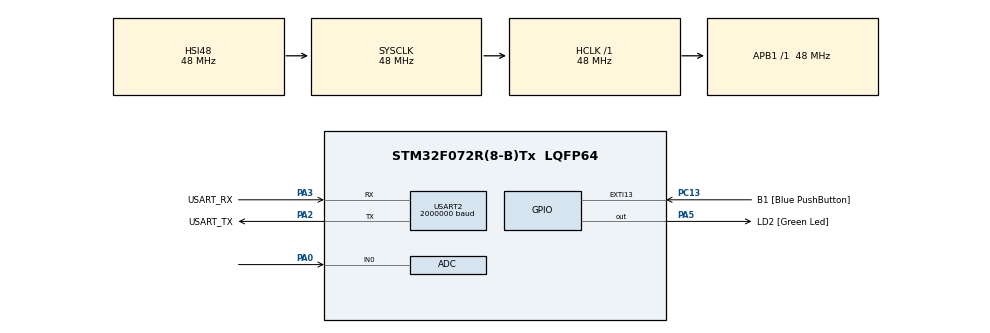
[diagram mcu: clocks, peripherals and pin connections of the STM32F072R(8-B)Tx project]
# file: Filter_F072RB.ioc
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Mcu.Family=STM32F0
Mcu.Name=STM32F072R(8-B)Tx
Mcu.Package=LQFP64
NVIC.ADC1_COMP_IRQn=true\:0\:0\:false\:false\:true\:true\:true\:true
NVIC.TIM1_BRK_UP_TRG_COM_IRQn=true\:0\:0\:false\:false\:true\:true\:true\:true
NVIC.TIM2_IRQn=true\:0\:0\:false\:false\:true\:true\:true\:true
PA0.Mode=IN0
PA0.Signal=ADC_IN0
PA13.GPIO_Label=TMS
PA13.Mode=Serial_Wire
PA13.Signal=SYS_SWDIO
PA14.GPIO_Label=TCK
PA14.Mode=Serial_Wire
PA14.Signal=SYS_SWCLK
PA2.GPIO_Label=USART_TX
PA2.GPIO_Mode=GPIO_MODE_AF_PP
PA2.GPIO_PuPd=GPIO_NOPULL
PA2.GPIO_Speed=GPIO_SPEED_FREQ_LOW
PA2.Mode=Asynchronous
PA2.Signal=USART2_TX
PA3.GPIO_Label=USART_RX
PA3.GPIO_Mode=GPIO_MODE_AF_PP
PA3.GPIO_PuPd=GPIO_NOPULL
PA3.GPIO_Speed=GPIO_SPEED_FREQ_LOW
PA3.Mode=Asynchronous
PA3.Signal=USART2_RX
PA5.GPIO_Label=LD2 [Green Led]
PA5.GPIO_Mode=GPIO_MODE_OUTPUT_PP
PA5.GPIO_PuPd=GPIO_NOPULL
PA5.GPIO_Speed=GPIO_SPEED_FREQ_LOW
PA5.Signal=GPIO_Output
PC13.GPIO_Label=B1 [Blue PushButton]
PC13.GPIO_ModeDefaultEXTI=GPIO_MODE_IT_FALLING
PC13.Signal=GPXTI13
PC14-OSC32_IN.Mode=LSE-External-Oscillator
PC14-OSC32_IN.Signal=RCC_OSC32_IN
PC15-OSC32_OUT.Mode=LSE-External-Oscillator
PC15-OSC32_OUT.Signal=RCC_OSC32_OUT
PF0-OSC_IN.Mode=HSE-External-Clock-Source
PF0-OSC_IN.Signal=RCC_OSC_IN
PF1-OSC_OUT.Signal=RCC_OSC_OUT
ProjectManager.HeapSize=0x200
ProjectManager.StackSize=0x400
ProjectManager.TargetToolchain=STM32CubeIDE
RCC.AHBFreq_Value=48000000
RCC.APB1Freq_Value=48000000
RCC.APB1TimFreq_Value=48000000
RCC.FLatency-AdvancedSettings=FLASH_LATENCY_1
RCC.HCLKFreq_Value=48000000
RCC.PLLDivider=RCC_PREDIV_DIV2
RCC.PLLMUL=RCC_PLL_MUL12
RCC.PREFETCH_ENABLE-AdvancedSettings=1
RCC.SYSCLKFreq_VALUE=48000000
RCC.SYSCLKSource=RCC_SYSCLKSOURCE_HSI48
TIM1.Period=100-1
TIM1.Prescaler=10-1
TIM2.Period=100000-1
TIM2.Prescaler=48-1
USART2.BaudRate=2000000
USART2.VirtualMode=VM_ASYNC
USART2.VirtualMode-Asynchronous=VM_ASYNC
VP_TIM1_VS_ClockSourceINT.Mode=Internal
VP_TIM2_VS_ClockSourceINT.Mode=Internal
board=NUCLEO-F072RB

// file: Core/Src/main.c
/* USER CODE BEGIN Header */
/**
  ******************************************************************************
  * @file           : main.c
  * @brief          : Main program body
  ******************************************************************************
  * @attention
  *
  * Copyright (c) 2022 STMicroelectronics.
  * All rights reserved.
  *
  * This software is licensed under terms that can be found in the LICENSE file
  * in the root directory of this software component.
  * If no LICENSE file comes with this software, it is provided AS-IS.
  *
  ******************************************************************************
  */
/* USER CODE END Header */
#include "main.h"

/* USER CODE BEGIN Includes */
#include <stdio.h>
#include <string.h>
/* USER CODE END Includes */

ADC_HandleTypeDef hadc;

TIM_HandleTypeDef htim1;
TIM_HandleTypeDef htim2;

UART_HandleTypeDef huart2;

/* USER CODE BEGIN PV */
uint32_t adcValue=0;
uint8_t flagTim1=0;
uint8_t flagTim2=0;
/* USER CODE END PV */

void SystemClock_Config(void);
static void MX_GPIO_Init(void);
static void MX_USART2_UART_Init(void);
static void MX_ADC_Init(void);
static void MX_TIM1_Init(void);
static void MX_TIM2_Init(void);
/* USER CODE BEGIN PFP */
void HAL_ADC_ConvCpltCallback(ADC_HandleTypeDef* hadc){
	adcValue=HAL_ADC_GetValue(hadc);
}
/* USER CODE END PFP */

int main(void)
{

  /* MCU Configuration--------------------------------------------------------*/

  /* Reset of all peripherals, Initializes the Flash interface and the Systick. */
  HAL_Init();

  /* Configure the system clock */
  SystemClock_Config();

  /* Initialize all configured peripherals */
  MX_GPIO_Init();
  MX_USART2_UART_Init();
  MX_ADC_Init();
  MX_TIM1_Init();
  MX_TIM2_Init();
  /* USER CODE BEGIN 2 */
  HAL_TIM_Base_Start_IT(&htim1);
  HAL_TIM_Base_Start_IT(&htim2);
  char msg[10];
  double reConjug = 0.1225;    //0.003914 freq coupure norm->187,872Hz freq coupure denorm
  double imgConjug = -0.87740689;
  double coef=reConjug+imgConjug;
  double z=0;
  double z1=0;
  double out=0;
  /* USER CODE END 2 */

  /* Infinite loop */
  /* USER CODE BEGIN WHILE */
  while (1)
  {
	if(flagTim1==1){
		z1=z;
		z=(double)adcValue;
		out=z+z1*coef;
		flagTim1=0;
	}
	if(flagTim2==1){
			uint8_t size=snprintf(msg,10,"%.3f\r\n",out);
			HAL_UART_Transmit(&huart2,(uint8_t*)msg, size, HAL_MAX_DELAY);
			flagTim2=0;
		}
    /* USER CODE END WHILE */

  }
}

void SystemClock_Config(void)
{
  RCC_OscInitTypeDef RCC_OscInitStruct = {0};
  RCC_ClkInitTypeDef RCC_ClkInitStruct = {0};
  RCC_PeriphCLKInitTypeDef PeriphClkInit = {0};

  /** Initializes the RCC Oscillators according to the specified parameters
  * in the RCC_OscInitTypeDef structure.
  */
  RCC_OscInitStruct.OscillatorType = RCC_OSCILLATORTYPE_HSI14|RCC_OSCILLATORTYPE_HSI48;
  RCC_OscInitStruct.HSI48State = RCC_HSI48_ON;
  RCC_OscInitStruct.HSI14State = RCC_HSI14_ON;
  RCC_OscInitStruct.HSI14CalibrationValue = 16;
  RCC_OscInitStruct.PLL.PLLState = RCC_PLL_NONE;
  if (HAL_RCC_OscConfig(&RCC_OscInitStruct) != HAL_OK)
  {
    Error_Handler();
  }

  /** Initializes the CPU, AHB and APB buses clocks
  */
  RCC_ClkInitStruct.ClockType = RCC_CLOCKTYPE_HCLK|RCC_CLOCKTYPE_SYSCLK
                              |RCC_CLOCKTYPE_PCLK1;
  RCC_ClkInitStruct.SYSCLKSource = RCC_SYSCLKSOURCE_HSI48;
  RCC_ClkInitStruct.AHBCLKDivider = RCC_SYSCLK_DIV1;
  RCC_ClkInitStruct.APB1CLKDivider = RCC_HCLK_DIV1;

  if (HAL_RCC_ClockConfig(&RCC_ClkInitStruct, FLASH_LATENCY_1) != HAL_OK)
  {
    Error_Handler();
  }
  PeriphClkInit.PeriphClockSelection = RCC_PERIPHCLK_USART2;
  PeriphClkInit.Usart2ClockSelection = RCC_USART2CLKSOURCE_PCLK1;
  if (HAL_RCCEx_PeriphCLKConfig(&PeriphClkInit) != HAL_OK)
  {
    Error_Handler();
  }
}

static void MX_ADC_Init(void)
{

  ADC_ChannelConfTypeDef sConfig = {0};

  /** Configure the global features of the ADC (Clock, Resolution, Data Alignment and number of conversion)
  */
  hadc.Instance = ADC1;
  hadc.Init.ClockPrescaler = ADC_CLOCK_ASYNC_DIV1;
  hadc.Init.Resolution = ADC_RESOLUTION_12B;
  hadc.Init.DataAlign = ADC_DATAALIGN_RIGHT;
  hadc.Init.ScanConvMode = ADC_SCAN_DIRECTION_FORWARD;
  hadc.Init.EOCSelection = ADC_EOC_SINGLE_CONV;
  hadc.Init.LowPowerAutoWait = DISABLE;
  hadc.Init.LowPowerAutoPowerOff = DISABLE;
  hadc.Init.ContinuousConvMode = DISABLE;
  hadc.Init.DiscontinuousConvMode = DISABLE;
  hadc.Init.ExternalTrigConv = ADC_SOFTWARE_START;
  hadc.Init.ExternalTrigConvEdge = ADC_EXTERNALTRIGCONVEDGE_NONE;
  hadc.Init.DMAContinuousRequests = DISABLE;
  hadc.Init.Overrun = ADC_OVR_DATA_PRESERVED;
  if (HAL_ADC_Init(&hadc) != HAL_OK)
  {
    Error_Handler();
  }

  /** Configure for the selected ADC regular channel to be converted.
  */
  sConfig.Channel = ADC_CHANNEL_0;
  sConfig.Rank = ADC_RANK_CHANNEL_NUMBER;
  sConfig.SamplingTime = ADC_SAMPLETIME_1CYCLE_5;
  if (HAL_ADC_ConfigChannel(&hadc, &sConfig) != HAL_OK)
  {
    Error_Handler();
  }

}

static void MX_TIM1_Init(void)
{

  TIM_ClockConfigTypeDef sClockSourceConfig = {0};
  TIM_MasterConfigTypeDef sMasterConfig = {0};

  htim1.Instance = TIM1;
  htim1.Init.Prescaler = 10-1;
  htim1.Init.CounterMode = TIM_COUNTERMODE_UP;
  htim1.Init.Period = 100-1;
  htim1.Init.ClockDivision = TIM_CLOCKDIVISION_DIV1;
  htim1.Init.RepetitionCounter = 0;
  htim1.Init.AutoReloadPreload = TIM_AUTORELOAD_PRELOAD_DISABLE;
  if (HAL_TIM_Base_Init(&htim1) != HAL_OK)
  {
    Error_Handler();
  }
  sClockSourceConfig.ClockSource = TIM_CLOCKSOURCE_INTERNAL;
  if (HAL_TIM_ConfigClockSource(&htim1, &sClockSourceConfig) != HAL_OK)
  {
    Error_Handler();
  }
  sMasterConfig.MasterOutputTrigger = TIM_TRGO_RESET;
  sMasterConfig.MasterSlaveMode = TIM_MASTERSLAVEMODE_DISABLE;
  if (HAL_TIMEx_MasterConfigSynchronization(&htim1, &sMasterConfig) != HAL_OK)
  {
    Error_Handler();
  }

}

static void MX_TIM2_Init(void)
{

  TIM_ClockConfigTypeDef sClockSourceConfig = {0};
  TIM_MasterConfigTypeDef sMasterConfig = {0};

  htim2.Instance = TIM2;
  htim2.Init.Prescaler = 48-1;
  htim2.Init.CounterMode = TIM_COUNTERMODE_UP;
  htim2.Init.Period = 100000-1;
  htim2.Init.ClockDivision = TIM_CLOCKDIVISION_DIV1;
  htim2.Init.AutoReloadPreload = TIM_AUTORELOAD_PRELOAD_DISABLE;
  if (HAL_TIM_Base_Init(&htim2) != HAL_OK)
  {
    Error_Handler();
  }
  sClockSourceConfig.ClockSource = TIM_CLOCKSOURCE_INTERNAL;
  if (HAL_TIM_ConfigClockSource(&htim2, &sClockSourceConfig) != HAL_OK)
  {
    Error_Handler();
  }
  sMasterConfig.MasterOutputTrigger = TIM_TRGO_RESET;
  sMasterConfig.MasterSlaveMode = TIM_MASTERSLAVEMODE_DISABLE;
  if (HAL_TIMEx_MasterConfigSynchronization(&htim2, &sMasterConfig) != HAL_OK)
  {
    Error_Handler();
  }

}

static void MX_USART2_UART_Init(void)
{

  huart2.Instance = USART2;
  huart2.Init.BaudRate = 2000000;
  huart2.Init.WordLength = UART_WORDLENGTH_8B;
  huart2.Init.StopBits = UART_STOPBITS_1;
  huart2.Init.Parity = UART_PARITY_NONE;
  huart2.Init.Mode = UART_MODE_TX_RX;
  huart2.Init.HwFlowCtl = UART_HWCONTROL_NONE;
  huart2.Init.OverSampling = UART_OVERSAMPLING_16;
  huart2.Init.OneBitSampling = UART_ONE_BIT_SAMPLE_DISABLE;
  huart2.AdvancedInit.AdvFeatureInit = UART_ADVFEATURE_NO_INIT;
  if (HAL_UART_Init(&huart2) != HAL_OK)
  {
    Error_Handler();
  }

}

static void MX_GPIO_Init(void)
{
  GPIO_InitTypeDef GPIO_InitStruct = {0};

  /* GPIO Ports Clock Enable */
  __HAL_RCC_GPIOC_CLK_ENABLE();
  __HAL_RCC_GPIOF_CLK_ENABLE();
  __HAL_RCC_GPIOA_CLK_ENABLE();

  /*Configure GPIO pin Output Level */
  HAL_GPIO_WritePin(LD2_GPIO_Port, LD2_Pin, GPIO_PIN_RESET);

  /*Configure GPIO pin : B1_Pin */
  GPIO_InitStruct.Pin = B1_Pin;
  GPIO_InitStruct.Mode = GPIO_MODE_IT_FALLING;
  GPIO_InitStruct.Pull = GPIO_NOPULL;
  HAL_GPIO_Init(B1_GPIO_Port, &GPIO_InitStruct);

  /*Configure GPIO pin : LD2_Pin */
  GPIO_InitStruct.Pin = LD2_Pin;
  GPIO_InitStruct.Mode = GPIO_MODE_OUTPUT_PP;
  GPIO_InitStruct.Pull = GPIO_NOPULL;
  GPIO_InitStruct.Speed = GPIO_SPEED_FREQ_LOW;
  HAL_GPIO_Init(LD2_GPIO_Port, &GPIO_InitStruct);

}

void Error_Handler(void)
{
  __disable_irq();
  while (1)
  {
  }
}
